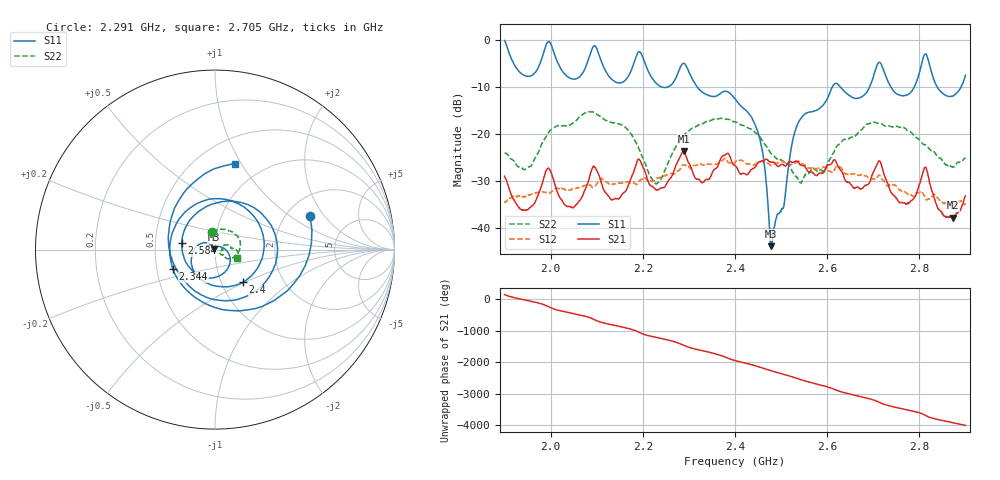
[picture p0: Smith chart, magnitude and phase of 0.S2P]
! C:\Users\rflab\Downloads\Lab5_KD_ZW\0.S2P
! Touchstone 1.1 file saved by VNA.EXE V1.65 (www.ke5fx.com/gpib/readme.htm)
! 11/11/2024 11:30:15 PM
!  Source: HEWLETT PACKARD,8753D,0,6.14
!  Min freq: 1.900000E+009 Hz
!  Max freq: 2.900000E+009 Hz
!  Points: 801
!  Params: S11 S21 S12 S22
# GHZ S RI R 50
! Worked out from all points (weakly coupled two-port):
!   801 points, 1.9 GHz to 2.9 GHz, reference 50 ohm
!   highest |S21| = -23.57 dB at 2.289 GHz (marker M1); lowest = -37.8 dB at 2.873 GHz (marker M2)
!   lowest |S11| = -43.9 dB at 2.478 GHz (marker M3), VSWR 1.01, Z = 49.4 + j0.214 ohm
!   |S11| at or under -10 dB: 2.319 GHz to 2.611 GHz (292.1 MHz wide, 11.9 % of centre); 2.629 GHz to 2.692 GHz (62.37 MHz wide, 2.34 % of centre); 2.839 GHz to 2.89 GHz (50.97 MHz wide, 1.78 % of centre) (the widest 3 of 6)
!   |S22| runs from -30.6 to -15.2 dB; largest |S21 - S12| = 0.024
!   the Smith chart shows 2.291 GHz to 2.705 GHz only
!   S11 on the Smith chart (normalised r, x): 2.291 GHz: 2.68, +1.45; 2.344 GHz: 0.61, -0.14; 2.4 GHz: 1.26, -0.49; 2.584 GHz: 0.69, +0.05; 2.705 GHz: 0.74, +0.94
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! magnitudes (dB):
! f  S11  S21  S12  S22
! 1.9 GHz  0.0  -29.0  -34.3  -24.0
! 1.94 GHz  -7.3  -36.1  -33.4  -27.4
! 1.994 GHz  -0.3  -27.3  -32.6  -20.0
! 2.067 GHz  -7.2  -33.5  -31.2  -15.9
! 2.147 GHz  -9.0  -33.8  -30.4  -17.8
! 2.191 GHz  -2.4  -25.3  -30.2  -23.0
! 2.234 GHz  -9.5  -31.9  -29.3  -30.2
! 2.289 GHz  -4.9  -23.6  -26.5  -20.2
! 2.291 GHz  -5.0  -24.0  -26.7  -20.0
! 2.344 GHz  -11.8  -29.6  -26.4  -17.1
! 2.4 GHz  -12.4  -26.7  -26.1  -17.4
! 2.453 GHz  -20.4  -25.9  -26.0  -20.4
! 2.478 GHz  -43.9  -26.0  -26.7  -24.0
! 2.533 GHz  -18.7  -25.8  -26.1  -29.0
! 2.567 GHz  -15.2  -28.1  -27.2  -27.3
! 2.584 GHz  -14.5  -28.2  -27.2  -27.6
! 2.705 GHz  -6.2  -27.2  -29.6  -17.5
! 2.734 GHz  -9.1  -31.2  -30.9  -18.2
! 2.777 GHz  -11.4  -34.7  -32.9  -19.3
! 2.814 GHz  -2.9  -27.1  -33.9  -22.3
! 2.873 GHz  -11.8  -37.8  -35.0  -27.0
! 2.9 GHz  -7.4  -33.1  -35.1  -25.0
